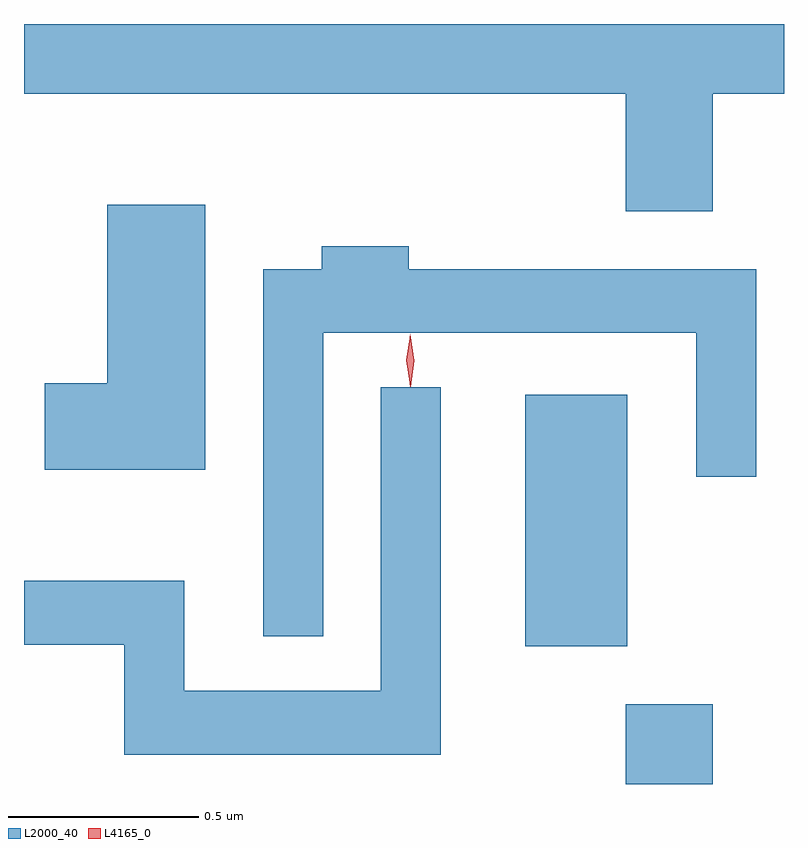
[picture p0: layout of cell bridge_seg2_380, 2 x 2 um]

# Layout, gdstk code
import gdstk
lib = gdstk.Library(unit=1e-6, precision=1e-09)
def R(c, l, rs):  # rectangles x0, y0, x1, y1
    for r in rs: c.add(gdstk.rectangle(r[:2], r[2:], *l))
def P(c, l, *ps):  # polygons
    for p in ps: c.add(gdstk.Polygon(p, *l))
L2000_40 = (2000, 40)
L4165_0 = (4165, 0)

bridge_seg2_380 = lib.new_cell('bridge_seg2_380')
R(bridge_seg2_380, L2000_40, [(632.141,1026.519,632.369,1026.729), (631.876,1026.881,632.144,1027.544)])
P(bridge_seg2_380, L2000_40, [(632.369,1028.336),(632.557,1028.336),(632.557,1028.519),(630.557,1028.519),(630.557,1028.336),(632.141,1028.336),(632.141,1028.026),(632.369,1028.026)],
  [(631.034,1028.044),(630.776,1028.044),(630.776,1027.574),(630.611,1027.574),(630.611,1027.346),(631.034,1027.346)],
  [(631.344,1027.706),(632.326,1027.706),(632.326,1027.328),(632.484,1027.328),(632.484,1027.874),(631.569,1027.874),(631.569,1027.934),(631.341,1027.934),(631.341,1027.874),(631.186,1027.874),(631.186,1026.908),(631.344,1026.908)],
  [(631.654,1027.563),(631.496,1027.563),(631.496,1026.764),(630.979,1026.764),(630.979,1027.054),(630.557,1027.054),(630.557,1026.886),(630.821,1026.886),(630.821,1026.596),(631.654,1026.596)])
P(bridge_seg2_380, L4165_0, [(631.574,1027.564),(631.574,1027.564),(631.564,1027.633),(631.573,1027.702),(631.574,1027.703),(631.574,1027.702),(631.584,1027.633),(631.575,1027.564)],
  [(631.573,1027.567),(631.573,1027.568),(631.563,1027.634),(631.573,1027.7),(631.573,1027.701),(631.574,1027.7),(631.583,1027.634),(631.574,1027.568)])

lib.write_gds('bridge_seg2_380.gds')
